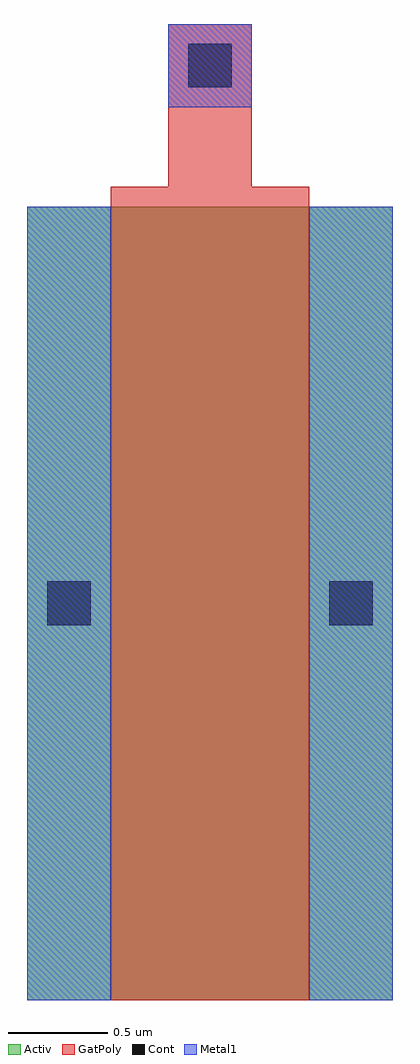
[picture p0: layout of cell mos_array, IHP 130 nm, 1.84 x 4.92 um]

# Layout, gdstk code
import gdstk
lib = gdstk.Library(unit=1e-6, precision=1e-09)
def R(c, l, rs):  # rectangles x0, y0, x1, y1
    for r in rs: c.add(gdstk.rectangle(r[:2], r[2:], *l))
Activ = (1, 0)
GatPoly = (5, 0)
Cont = (6, 0)
Metal1 = (8, 0)

mos_array = lib.new_cell('mos_array')
R(mos_array, Activ, [(0,0,1.84,4)])
R(mos_array, GatPoly, [(0.42,0,1.42,4), (0.42,4,1.42,4.1), (0.71,4.1,1.13,4.92)])
R(mos_array, Cont, [(0.1,1.89,0.32,2.11), (1.52,1.89,1.74,2.11), (0.81,4.6,1.03,4.82)])
R(mos_array, Metal1, [(0,0,0.42,4), (1.42,0,1.84,4), (0.71,4.5,1.13,4.92)])

lib.write_gds('mos_array.gds')
